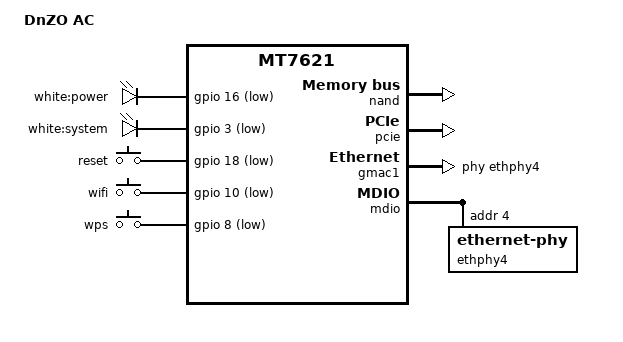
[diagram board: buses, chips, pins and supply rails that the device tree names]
#include "mt7621.dtsi"

#include <dt-bindings/gpio/gpio.h>
#include <dt-bindings/input/input.h>

/ {
	compatible = "hiwifi,hc5962", "mediatek,mt7621-soc";
	model = "DnZO AC";

	aliases {
		led-boot = &power_led;
		led-failsafe = &system_led;
		led-running = &system_led;
		led-upgrade = &system_led;
		label-mac-device = &gmac1;
	};

	chosen {
		bootargs = "console=ttyS0,115200";
	};

	leds {
		compatible = "gpio-leds";

		power_led: led-power {
			label = "white:power";
			gpios = <&gpio 16 GPIO_ACTIVE_LOW>;
		};

		system_led: led-system {
			label = "white:system";
			gpios = <&gpio 3 GPIO_ACTIVE_LOW>;
		};
	};

	keys {
		compatible = "gpio-keys";

		button-reset {
			label = "reset";
			gpios = <&gpio 18 GPIO_ACTIVE_LOW>;
			linux,code = <KEY_RESTART>;
		};

		button-wifi {
			label = "wifi";
			gpios = <&gpio 10 GPIO_ACTIVE_LOW>;
			linux,code = <KEY_RFKILL>;
		};

		button-wps {
			label = "wps";
			gpios = <&gpio 8 GPIO_ACTIVE_LOW>;
			linux,code = <KEY_WPS_BUTTON>;
		};
	};

	ubi-concat {
		compatible = "mtd-concat";
		devices = <&ubiconcat0 &ubiconcat1>;

		partitions {
			compatible = "fixed-partitions";
			#address-cells = <1>;
			#size-cells = <1>;

			partition@0 {
				label = "ubi";
				reg = <0x0 0x79c0000>;
			};
		};
	};
};

&nand {
	status = "okay";

	partitions {
		compatible = "fixed-partitions";
		#address-cells = <1>;
		#size-cells = <1>;

		partition@0 {
			label = "u-boot";
			reg = <0x0 0x80000>;
			read-only;
		};

		partition@80000 {
			label = "debug";
			reg = <0x80000 0x80000>;
			read-only;
		};

		factory: partition@100000 {
			label = "factory";
			reg = <0x100000 0x40000>;
			read-only;
		};

		partition@140000 {
			label = "kernel";
			reg = <0x140000 0x400000>;
		};

		ubiconcat0: partition@540000 {
			label = "ubiconcat0";
			reg = <0x540000 0x1c80000>;
		};

		partition@21c0000 {
			label = "bdinfo";
			reg = <0x21c0000 0x80000>;
			read-only;
		};

		ubiconcat1: partition@2240000 {
			label = "ubiconcat1";
			reg = <0x2240000 0x5d40000>;
		};
	};
};

&pcie {
	status = "okay";
};

&pcie0 {
	mt76@0,0 {
		reg = <0x0000 0 0 0 0>;
		mediatek,mtd-eeprom = <&factory 0x0000>;
		ieee80211-freq-limit = <2400000 2500000>;
	};
};

&pcie1 {
	mt76@0,0 {
		reg = <0x0000 0 0 0 0>;
		mediatek,mtd-eeprom = <&factory 0x8000>;
		ieee80211-freq-limit = <5000000 6000000>;
	};
};

&gmac0 {
	nvmem-cells = <&macaddr_factory_e000>;
	nvmem-cell-names = "mac-address";
};

&gmac1 {
	status = "okay";
	label = "wan";
	phy-handle = <&ethphy4>;

	nvmem-cells = <&macaddr_factory_e006>;
	nvmem-cell-names = "mac-address";
};

&factory {
	compatible = "nvmem-cells";
	#address-cells = <1>;
	#size-cells = <1>;

	macaddr_factory_e000: macaddr@e000 {
		reg = <0xe000 0x6>;
	};

	macaddr_factory_e006: macaddr@e006 {
		reg = <0xe006 0x6>;
	};
};

&mdio {
	ethphy4: ethernet-phy@4 {
		reg = <4>;
	};
};

&switch0 {
	ports {
		port@0 {
			status = "okay";
			label = "lan1";
		};
		
		port@1 {
			status = "okay";
			label = "lan2";
		};

		port@2 {
			status = "okay";
			label = "lan3";
		};

		port@3 {
			status = "okay";
			label = "lan4";
		};
	};
};

&state_default {
	gpio {
		groups = "uart3", "jtag";
		function = "gpio";
	};
};
